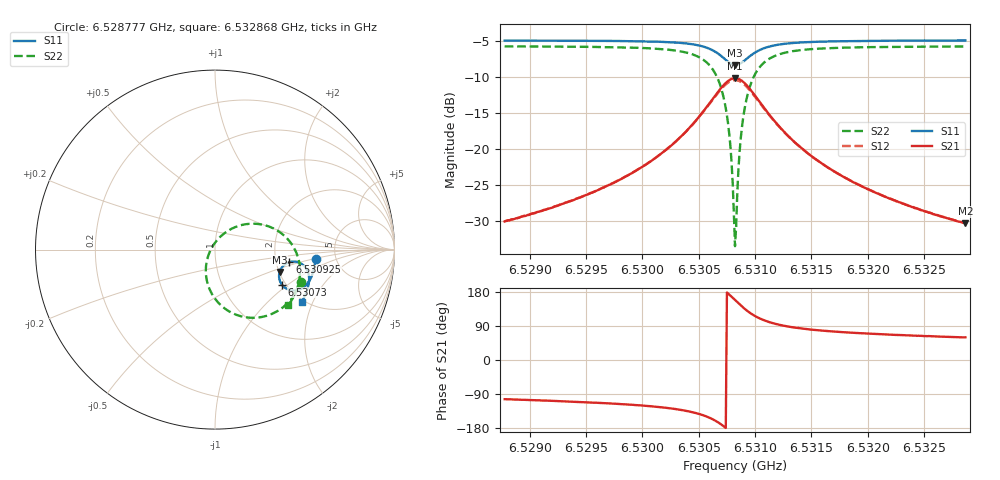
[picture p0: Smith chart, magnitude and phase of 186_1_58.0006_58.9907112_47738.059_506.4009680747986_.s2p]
#  HZ  S  RI  R  50.00
! Rohde & Schwarz Vector Network Analyzer
! Rohde-Schwarz,ZNB20-2Port,1311601062101988,3.16
! Created: UTC 3/21/2024, 12:58:38 AM
! freq[Hz]  re:S11  im:S11  re:S21  im:S21  re:S12  im:S12  re:S22  im:S22
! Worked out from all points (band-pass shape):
!   401 points, 6.528777 GHz to 6.532868 GHz, reference 50 ohm
!   highest |S21| = -10.20 dB at 6.530822 GHz (marker M1); lowest = -30.3 dB at 6.532868 GHz (marker M2)
!   |S21| within 3 dB of the highest: 6.530619 GHz to 6.531028 GHz (409.2 kHz wide, 0.00627 % of centre)
!   lowest |S11| = -8.4 dB at 6.530822 GHz (marker M3), VSWR 2.23, Z = 100 - j29.4 ohm
!   |S11| at or under -10 dB: nowhere
!   |S22| runs from -33.5 to -5.8 dB; largest |S21 - S12| = 0.012
!   S11 on the Smith chart (normalised r, x): 6.528777 GHz: 3.49, -0.52; 6.53073 GHz: 1.91, -0.91; 6.530925 GHz: 2.37, -0.40; 6.532868 GHz: 1.93, -1.66
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6.5287774e9  0.5604 -0.0505  -0.00728 -0.0305  -0.00783 -0.0304  0.4813 -0.1784
6.5294625e9  0.5511 -0.1078  -0.0167 -0.0434  -0.0178 -0.043  0.4495 -0.2417
6.5301476e9  0.524 -0.177  -0.0507 -0.0746  -0.0528 -0.0731  0.3664 -0.3304
6.5303827e9  0.4975 -0.2073  -0.0905 -0.0943  -0.0934 -0.0911  0.2849 -0.3697
6.5305566e9  0.4537 -0.2274  -0.1592 -0.101  -0.1616 -0.0942  0.158 -0.3746
6.5306588e9  0.4086 -0.2226  -0.2294 -0.0745  -0.2286 -0.0646  0.0402 -0.3167
6.5307304e9  0.3729 -0.1954  -0.2809 -0.0154  -0.2752 -0.00523  -0.0355 -0.2076
6.5307713e9  0.3594 -0.1673  -0.297 0.0379  -0.2879 0.0462  -0.0514 -0.1163
6.5307815e9  0.3577 -0.1592  -0.298 0.0529  -0.2883 0.0603  -0.05 -0.0917
6.5308122e9  0.358 -0.1337  -0.2922 0.0988  -0.2812 0.1035  -0.0314 -0.0175
6.5308224e9  0.3598 -0.1252  -0.2872 0.1138  -0.2761 0.1174  -0.0203 0.00588
6.5308327e9  0.3626 -0.117  -0.2807 0.1281  -0.2696 0.1309  -0.00706 0.0281
6.5308429e9  0.3663 -0.1091  -0.2729 0.1419  -0.262 0.1435  0.00843 0.0489
6.5308633e9  0.3759 -0.095  -0.2539 0.1661  -0.2435 0.1659  0.0443 0.0848
6.5308838e9  0.3878 -0.0837  -0.2313 0.1855  -0.2219 0.1838  0.085 0.1123
6.5309247e9  0.4147 -0.0699  -0.1821 0.2087  -0.1751 0.2056  0.1703 0.1413
6.5309963e9  0.4581 -0.0691  -0.1063 0.2109  -0.1026 0.2078  0.2977 0.1296
6.5310985e9  0.4962 -0.0908  -0.0409 0.1797  -0.0392 0.1779  0.4026 0.0609
6.5312519e9  0.5186 -0.1267  -0.00147 0.1331  -0.00019 0.1323  0.4599 -0.0351
6.5315075e9  0.5245 -0.1703  0.0155 0.0869  0.0165 0.0866  0.4736 -0.133
6.5321926e9  0.5075 -0.2418  0.0176 0.0416  0.0184 0.0415  0.4442 -0.2492
6.5328675e9  0.4824 -0.2932  0.0153 0.0263  0.016 0.026  0.4094 -0.3087
